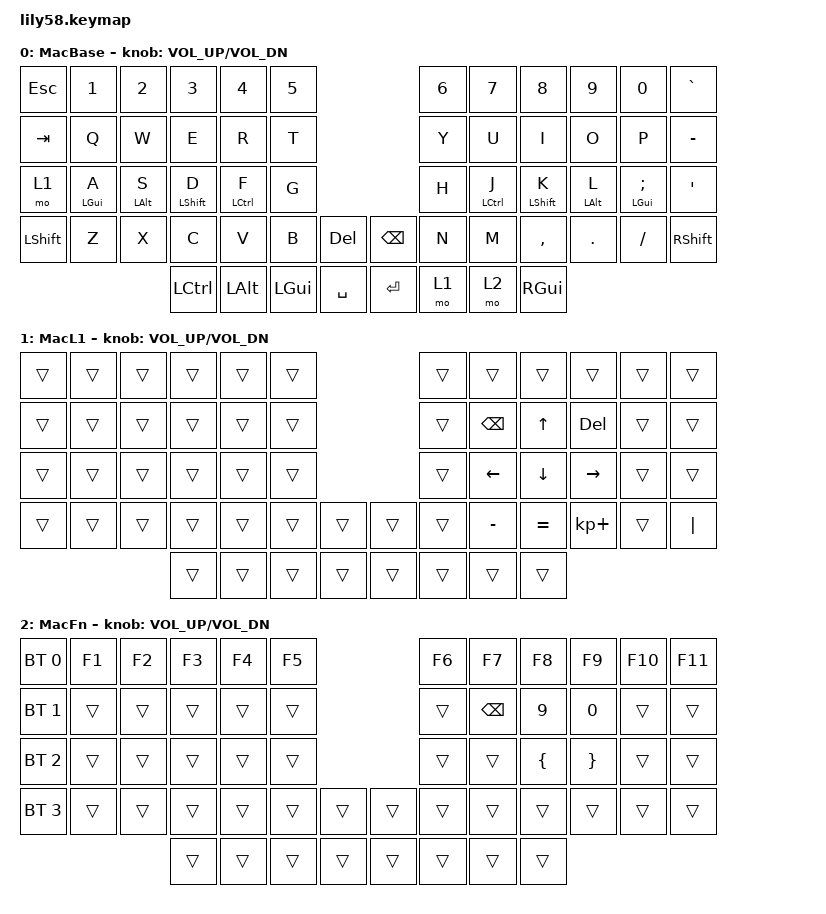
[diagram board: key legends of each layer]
#include <behaviors.dtsi>
#include <behaviors/num_word.dtsi> // Requires auto-layer module.
#include <dt-bindings/zmk/keys.h>

#include <dt-bindings/zmk/bt.h> // wireless
#include <dt-bindings/zmk/outputs.h>

#include <dt-bindings/zmk/ext_power.h>

#include "zmk-helpers/helper.h"
#include "zmk-helpers/key-labels/lily58.h"


/*                                      58 KEY MATRIX / LAYOUT MAPPING

  ╭────────────────────────────┬────────────────────────────╮ ╭─────────────────────────────┬─────────────────────────────╮
  │  0   1   2   3   4   5     │      6   7   8   9  10  11 │ │ LT5 LT4 LT3 LT2 LT1 LT0     │     RT0 RT1 RT2 RT3 RT4 RT5 │
  │ 12  13  14  15  16  17     │     18  19  20  21  22  23 │ │ LM5 LM4 LM3 LM2 LM1 LM0     │     RM0 RM1 RM2 RM3 RM4 RM5 │
  │ 24  25  26  27  28  29     │     30  31  32  33  34  35 │ │ LB5 LB4 LB3 LB2 LB1 LB0     │     RB0 RB1 RB2 RB3 RB4 RB5 │
  │ 36  37  38  39  40  41  42 │ 43  44  45  46  47  48  49 │ │ LF5 LF4 LF3 LF2 LF1 LF0 LEC │ REC RF0 RF1 RF2 RF3 RF4 RF5 │
  ╰───────────╮ 50  51  52  53 │ 54  55  56  57 ╭───────────╯ ╰───────────╮ LH3 LH2 LH1 LH0 │ RH0 RH1 RH2 RH3 ╭───────────╯
              ╰────────────────┴────────────────╯                         ╰─────────────────┴─────────────────╯             */


// Global Defaults 

#define ___ &trans

#define QUICK_TAP_MS 175

&sk {
  release-after-ms = <900>;
  quick-release;
};

&sl { // Allow sticky mods to chord across sticky layers.
  ignore-modifiers;
};

&lt {
  flavor = "balanced";
  tapping-term-ms = <200>;
  quick-tap-ms = <QUICK_TAP_MS>;
};


// Home Row Mods
#define KEYS_L  LT5 LT4 LT3 LT2 LT1 LT0  \
                LM5 LM4 LM3 LM2 LM1 LM0  \
                LB5 LB4 LB3 LB2 LB1 LB0  \
                LF5 LF4 LF3 LF2 LF1 LF0 LEC

#define KEYS_R  RT0 RT1 RT2 RT3 RT4 RT5  \
                RM0 RM1 RM2 RM3 RM4 RM5  \
                RB0 RB1 RB2 RB3 RB4 RB5  \
            REC RF0 RF1 RF2 RF3 RF4 RF5

#define THUMBS  LH3 LH2 LH1 LH0  RH0 RH1 RH2 RH3


#define MAKE_HRM(NAME, HOLD, TAP, TRIGGER_POS)                                 \
  ZMK_HOLD_TAP(NAME, bindings = <HOLD>, <TAP>; flavor = "balanced";            \
               tapping-term-ms = <280>; quick-tap-ms = <QUICK_TAP_MS>;         \
               require-prior-idle-ms = <150>; hold-trigger-on-release;         \
               hold-trigger-key-positions = <TRIGGER_POS>;)

MAKE_HRM(hml, &kp, &kp, KEYS_R THUMBS) // Left-hand HRMs.
MAKE_HRM(hmr, &kp, &kp, KEYS_L THUMBS) // Right-hand HRMs.


// Keymaps

/ {
    keymap {
        compatible = "zmk,keymap";

        default_layer {
// ╭──────┬─────┬─────┬─────┬─────┬─────╮              ╭──────┬─────┬─────┬─────┬─────┬──────╮
// |  ESC |  1  |  2  |  3  |  4  |  5  |              |  6   |  7  |  8  |  9  |  0  |  `   |
// |  TAB |  Q  |  W  |  E  |  R  |  T  |              |  Y   |  U  |  I  |  O  |  P  |  -   |
// | MO(1)|  A  |  S  |  D  |  F  |  G  ├──────╮ ╭─────┤  H   |  J  |  K  |  L  |  ;  |  '   |
// | SHIFT|  Z  |  X  |  C  |  V  |  B  |  DEL | | BKSP|  N   |  M  |  ,  |  .  |  /  | SHIFT|
// ╰──────┴─────┴─────┤ CTRL| ALT | GUI | SPACE| |ENTER| MO(1)|MO(2)| GUI ├─────┴─────┴──────╯
//                    ╰─────┴─────┴─────┴──────╯ ╰─────┴──────┴─────┴─────╯
            display-name = "MacBase";
            bindings = <
//╭───────────┬───────────┬───────────┬───────────┬───────────┬───────────╮                         ╭───────────┬───────────┬───────────┬───────────┬───────────┬───────────╮
    &kp ESC     &kp N1      &kp N2      &kp N3      &kp N4      &kp N5                                &kp N6      &kp N7      &kp N8      &kp N9      &kp N0      &kp GRAVE
//├───────────┼───────────┼───────────┼───────────┼───────────┼───────────┤                         ├───────────┼───────────┼───────────┼───────────┼───────────┼───────────┤
    &kp TAB     &kp Q       &kp W       &kp E       &kp R       &kp T                                 &kp Y       &kp U       &kp I       &kp O       &kp P       &kp MINUS
//├───────────┼───────────┼───────────┼───────────┼───────────┼───────────┤                         ├───────────┼───────────┼───────────┼───────────┼───────────┼───────────┤
    &mo 1     &hml LGUI A &hml LALT S &hml LSHFT D &hml LCTRL F &kp G                                 &kp H     &hmr LCTRL J &hmr LSHIFT K &hmr LALT L &hmr LGUI SEMI &kp SQT
//├───────────┼───────────┼───────────┼───────────┼───────────┼───────────┼────────────╮╭───────────┼───────────┼───────────┼───────────┼───────────┼───────────┼───────────┤
    &kp LSHFT   &kp Z       &kp X       &kp C       &kp V       &kp B        &kp DEL       &kp BSPC   &kp N       &kp M       &kp COMMA   &kp DOT     &kp FSLH    &kp RSHFT
//╰───────────┴───────────┴───────────┼───────────┼───────────┼───────────┼────────────┤├───────────┼───────────┼───────────┼───────────┼───────────┴───────────┴───────────╯
                                        &kp LCTRL   &kp LALT    &kp LGUI     &kp SPACE     &kp RET    &mo 1       &mo 2       &kp RGUI
//                                    ╰───────────┴───────────┴───────────┴────────────╯╰───────────┴───────────┴───────────┴───────────╯
            >;

            sensor-bindings = <&inc_dec_kp C_VOL_UP C_VOL_DN>;
        };

        lower_layer {
// ╭──────┬─────┬─────┬─────┬─────┬─────╮              ╭──────┬─────┬─────┬─────┬─────┬──────╮
// |      |     |     |     |     |     |              |      |     |     |     |     |      |
// |      |     |     |     |     |     |              |      | BKSP|  ^  | DEL |     |      |
// |      | CRTL| ALT |SHIFT| GUI |     ├──────╮ ╭─────┤      | <-  |  v  |  -> |     |      |
// |      |     |     |     |     |     |      | |     |      |  -  |  =  |  +  |     |  |\  |
// ╰──────┴─────┴─────┤     |     |     |      | |     |      |     |     ├─────┴─────┴──────╯
//                    ╰─────┴─────┴─────┴──────╯ ╰─────┴──────┴─────┴─────╯
            display-name = "MacL1";
            bindings = <
//╭───────────┬───────────┬───────────┬───────────┬───────────┬───────────╮                         ╭───────────┬───────────┬───────────┬───────────┬───────────┬───────────╮
    ___         ___         ___         ___         ___         ___                                   ___         ___         ___         ___         ___         ___   
//├───────────┼───────────┼───────────┼───────────┼───────────┼───────────┤                         ├───────────┼───────────┼───────────┼───────────┼───────────┼───────────┤
    ___         ___         ___         ___         ___         ___                                   ___         &kp BSPC    &kp UP      &kp DEL     ___         ___
//├───────────┼───────────┼───────────┼───────────┼───────────┼───────────┤                         ├───────────┼───────────┼───────────┼───────────┼───────────┼───────────┤
    ___         ___         ___         ___         ___         ___                                   ___         &kp LEFT    &kp DOWN    &kp RIGHT   ___         ___
//├───────────┼───────────┼───────────┼───────────┼───────────┼───────────┼────────────╮╭───────────┼───────────┼───────────┼───────────┼───────────┼───────────┼───────────┤
    ___         ___         ___         ___         ___         ___         ___           ___         ___         &kp MINUS   &kp EQUAL   &kp KP_PLUS ___         &kp PIPE
//╰───────────┼───────────┴───────────┼───────────┼───────────┼───────────┼────────────┤├───────────┼───────────┼───────────┼───────────┼───────────┴───────────┴───────────╯
                                        ___         ___         ___         ___           ___         ___         ___         ___
//                                    ╰───────────┴───────────┴───────────┴────────────╯╰───────────┴───────────┴───────────┴───────────╯
            >;

            sensor-bindings = <&inc_dec_kp C_VOL_UP C_VOL_DN>;
        };

        raise_layer {
// ╭──────┬─────┬─────┬─────┬─────┬─────╮              ╭──────┬─────┬─────┬─────┬─────┬──────╮
// | BT0  | F1  | F2  | F3  | F4  | F5  |              | F6   | F7  | F8  | F9  | F10 | F11  |
// | BT1  |     |     |     |     |     |              |      |     |     |     |     |      |
// | BT2  |     |     |     |     |     ├──────╮ ╭─────┤      |     |     |     |     |      |
// | BT3  |     |     |     |     |     |      | |     |      |     |     |     |     |      |
// ╰──────┴─────┴─────┤     |     |     |      | |     |      |     |     ├─────┴─────┴──────╯
//                    ╰─────┴─────┴─────┴──────╯ ╰─────┴──────┴─────┴─────╯            
            display-name = "MacFn";
            bindings = <
//╭───────────┬───────────┬───────────┬───────────┬───────────┬───────────╮                         ╭───────────┬───────────┬───────────┬───────────┬───────────┬───────────╮
   &bt BT_SEL 0 &kp F1      &kp F2      &kp F3      &kp F4      &kp F5                                &kp F6      &kp F7      &kp F8      &kp F9      &kp F10     &kp F11
//├───────────┼───────────┼───────────┼───────────┼───────────┼───────────┤                         ├───────────┼───────────┼───────────┼───────────┼───────────┼───────────┤
   &bt BT_SEL 1 ___         ___         ___         ___         ___                                   ___         &kp BSPC    &kp N9      &kp N0      ___         ___
//├───────────┼───────────┼───────────┼───────────┼───────────┼───────────┤                         ├───────────┼───────────┼───────────┼───────────┼───────────┼───────────┤
   &bt BT_SEL 2 ___         ___         ___         ___         ___                                   ___         ___         &kp LBRC    &kp RBRC    ___         ___
//├───────────┼───────────┼───────────┼───────────┼───────────┼───────────┼────────────╮╭───────────┼───────────┼───────────┼───────────┼───────────┼───────────┼───────────┤
   &bt BT_SEL 3 ___         ___         ___         ___         ___         ___           ___         ___         ___         ___         ___         ___         ___
//╰───────────┼───────────┴───────────┼───────────┼───────────┼───────────┼────────────┤├───────────┼───────────┼───────────┼───────────┼───────────┴───────────┴───────────╯
                                        ___         ___         ___         ___           ___         ___         ___         ___       
//                                    ╰───────────┴───────────┴───────────┴────────────╯╰───────────┴───────────┴───────────┴───────────╯
            >;

            sensor-bindings = <&inc_dec_kp C_VOL_UP C_VOL_DN>;
        };

        extra_1 {
            status = "reserved";
        };

        extra_2 {
            status = "reserved";
        };

        extra_3 {
            status = "reserved";
        };
    };
};
